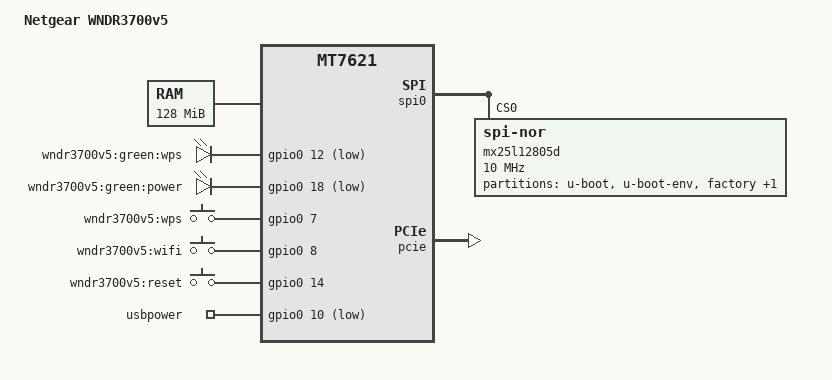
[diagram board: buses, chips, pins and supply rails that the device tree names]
/dts-v1/;

#include "mt7621.dtsi"

#include <dt-bindings/input/input.h>

/ {
	model = "Netgear WNDR3700v5";

	memory@0 {
		device_type = "memory";
		reg = <0x0 0x8000000>;
	};

	chosen {
		bootargs = "console=ttyS0,57600 maxcpus=2";
	};

	gpio-leds {
		compatible = "gpio-leds";

		wps {
			label = "wndr3700v5:green:wps";
			gpios = <&gpio0 12 1>;
		};

		power {
			label = "wndr3700v5:green:power";
			gpios = <&gpio0 18 1>;
		};
	};

	gpio-keys-polled {
		compatible = "gpio-keys-polled";
		#address-cells = <1>;
		#size-cells = <0>;
		poll-interval = <20>;

		wps {
			label = "wndr3700v5:wps";
			gpios = <&gpio0 7 0>;
			linux,code = <KEY_WPS_BUTTON>;
		};

		wifi {
			label = "wndr3700v5:wifi";
			gpios = <&gpio0 8 0>;
			linux,code = <KEY_RFKILL>;
		};

		reset {
			label = "wndr3700v5:reset";
			gpios = <&gpio0 14 0>;
			linux,code = <KEY_RESTART>;
		};
	};

	gpio_export {
		compatible = "gpio-export";
		#size-cells = <0>;

		usbpower {
			gpio-export,name = "usbpower";
			gpio-export,output = <1>;
			gpios = <&gpio0 10 1>;
		};
	};
};

&spi0 {
	status = "okay";

	mx25l12805d@0 {
		#address-cells = <1>;
		#size-cells = <1>;
		compatible = "jedec,spi-nor";
		reg = <0>;
		spi-max-frequency = <10000000>;
		m25p,chunked-io = <32>;

		partition@0 {
			label = "u-boot";
			reg = <0x0 0x30000>;
			read-only;
		};

		partition@30000 {
			label = "u-boot-env";
			reg = <0x30000 0x10000>;
			read-only;
		};

		factory: partition@f30000 {
			label = "factory";
			reg = <0xf30000 0x10000>;
			read-only;
		};

		partition@50000 {
			label = "firmware";
			reg = <0x50000 0xee0000>;
		};
	};
};

&pcie {
	status = "okay";

	pcie0 {
		mt76@0,0 {
			reg = <0x0000 0 0 0 0>;
			device_type = "pci";
			mediatek,mtd-eeprom = <&factory 0x8000>;
			ieee80211-freq-limit = <5000000 6000000>;
		};
	};

	pcie1 {
		mt76@1,0 {
			reg = <0x0000 0 0 0 0>;
			device_type = "pci";
			mediatek,mtd-eeprom = <&factory 0x0000>;
		};
	};
};

&ethernet {
	mtd-mac-address = <&factory 0x0000000c>;
};

&pinctrl {
	state_default: pinctrl0 {
		gpio {
			ralink,group =  "rgmii2", "mdio", "wdt";
			ralink,function = "gpio";
		};
	};
};
